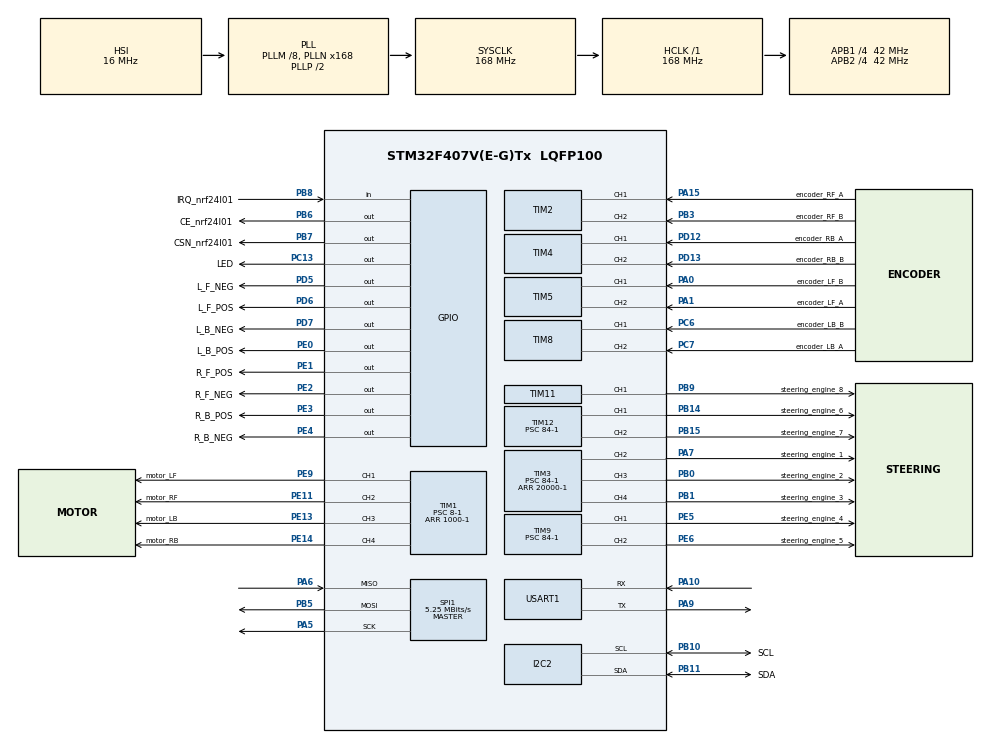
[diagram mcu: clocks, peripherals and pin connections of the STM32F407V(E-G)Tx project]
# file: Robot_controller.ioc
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Mcu.Family=STM32F4
Mcu.Name=STM32F407V(E-G)Tx
Mcu.Package=LQFP100
NVIC.PriorityGroup=NVIC_PRIORITYGROUP_4
NVIC.TIM2_IRQn=true\:0\:0\:false\:false\:true\:true\:true\:true
NVIC.TIM4_IRQn=true\:0\:0\:false\:false\:true\:true\:true\:true
NVIC.TIM5_IRQn=true\:0\:0\:false\:false\:true\:true\:true\:true
NVIC.TIM6_DAC_IRQn=true\:1\:0\:true\:false\:true\:true\:true\:true
NVIC.TIM7_IRQn=true\:2\:0\:true\:false\:true\:true\:true\:true
NVIC.USART1_IRQn=true\:0\:0\:false\:false\:true\:true\:true\:true
PA0-WKUP.GPIO_Label=encoder_LF_B
PA0-WKUP.GPIO_ModeDefaultPP=GPIO_MODE_AF_PP
PA0-WKUP.GPIO_PuPd=GPIO_PULLUP
PA0-WKUP.GPIO_Speed=GPIO_SPEED_FREQ_VERY_HIGH
PA0-WKUP.Signal=S_TIM5_CH1
PA1.GPIO_Label=encoder_LF_A
PA1.GPIO_ModeDefaultPP=GPIO_MODE_AF_PP
PA1.GPIO_PuPd=GPIO_PULLUP
PA1.GPIO_Speed=GPIO_SPEED_FREQ_VERY_HIGH
PA1.Signal=S_TIM5_CH2
PA10.Mode=Asynchronous
PA10.Signal=USART1_RX
PA13.Mode=Serial_Wire
PA13.Signal=SYS_JTMS-SWDIO
PA14.Mode=Serial_Wire
PA14.Signal=SYS_JTCK-SWCLK
PA15.GPIO_Label=encoder_RF_A
PA15.GPIO_ModeDefaultPP=GPIO_MODE_AF_PP
PA15.GPIO_PuPd=GPIO_PULLUP
PA15.GPIO_Speed=GPIO_SPEED_FREQ_VERY_HIGH
PA15.Signal=S_TIM2_CH1_ETR
PA5.Mode=Full_Duplex_Master
PA5.Signal=SPI1_SCK
PA6.Mode=Full_Duplex_Master
PA6.Signal=SPI1_MISO
PA7.GPIO_Label=steering_engine_1
PA7.GPIO_PuPd=GPIO_PULLDOWN
PA7.GPIO_Speed=GPIO_SPEED_FREQ_VERY_HIGH
PA7.Signal=S_TIM3_CH2
PA9.Mode=Asynchronous
PA9.Signal=USART1_TX
PB0.GPIO_Label=steering_engine_2
PB0.GPIO_PuPd=GPIO_PULLDOWN
PB0.GPIO_Speed=GPIO_SPEED_FREQ_VERY_HIGH
PB0.Signal=S_TIM3_CH3
PB1.GPIO_Label=steering_engine_3
PB1.GPIO_PuPd=GPIO_PULLDOWN
PB1.GPIO_Speed=GPIO_SPEED_FREQ_VERY_HIGH
PB1.Signal=S_TIM3_CH4
PB10.GPIO_Label=SCL
PB10.Mode=I2C
PB10.Signal=I2C2_SCL
PB11.GPIO_Label=SDA
PB11.Mode=I2C
PB11.Signal=I2C2_SDA
PB14.GPIO_Label=steering_engine_6
PB14.GPIO_PuPd=GPIO_PULLDOWN
PB14.GPIO_Speed=GPIO_SPEED_FREQ_VERY_HIGH
PB14.Signal=S_TIM12_CH1
PB15.GPIO_Label=steering_engine_7
PB15.GPIO_PuPd=GPIO_PULLDOWN
PB15.GPIO_Speed=GPIO_SPEED_FREQ_VERY_HIGH
PB15.Signal=S_TIM12_CH2
PB3.GPIO_Label=encoder_RF_B
PB3.GPIO_PuPd=GPIO_PULLUP
PB3.GPIO_Speed=GPIO_SPEED_FREQ_VERY_HIGH
PB3.Signal=S_TIM2_CH2
PB5.Mode=Full_Duplex_Master
PB5.Signal=SPI1_MOSI
PB6.GPIO_Label=CE_nrf24l01
PB6.GPIO_ModeDefaultOutputPP=GPIO_MODE_OUTPUT_PP
PB6.GPIO_Speed=GPIO_SPEED_FREQ_VERY_HIGH
PB6.PinState=GPIO_PIN_SET
PB6.Signal=GPIO_Output
PB7.GPIO_Label=CSN_nrf24l01
PB7.GPIO_Speed=GPIO_SPEED_FREQ_VERY_HIGH
PB7.PinState=GPIO_PIN_SET
PB7.Signal=GPIO_Output
PB8.GPIO_Label=IRQ_nrf24l01
PB8.GPIO_PuPd=GPIO_PULLUP
PB8.Signal=GPIO_Input
PB9.GPIO_Label=steering_engine_8
PB9.GPIO_ModeDefaultPP=GPIO_MODE_AF_PP
PB9.GPIO_PuPd=GPIO_PULLDOWN
PB9.GPIO_Speed=GPIO_SPEED_FREQ_VERY_HIGH
PB9.Signal=S_TIM11_CH1
PC13-ANTI_TAMP.GPIO_Label=LED
PC13-ANTI_TAMP.GPIO_ModeDefaultOutputPP=GPIO_MODE_OUTPUT_PP
PC13-ANTI_TAMP.GPIO_PuPd=GPIO_PULLDOWN
PC13-ANTI_TAMP.GPIO_Speed=GPIO_SPEED_FREQ_LOW
PC13-ANTI_TAMP.PinState=GPIO_PIN_RESET
PC13-ANTI_TAMP.Signal=GPIO_Output
PC6.GPIO_Label=encoder_LB_B
PC6.GPIO_PuPd=GPIO_PULLUP
PC6.GPIO_Speed=GPIO_SPEED_FREQ_VERY_HIGH
PC6.Signal=S_TIM8_CH1
PC7.GPIO_Label=encoder_LB_A
PC7.GPIO_PuPd=GPIO_PULLUP
PC7.GPIO_Speed=GPIO_SPEED_FREQ_VERY_HIGH
PC7.Signal=S_TIM8_CH2
PD12.GPIO_Label=encoder_RB_A
PD12.GPIO_PuPd=GPIO_PULLUP
PD12.GPIO_Speed=GPIO_SPEED_FREQ_VERY_HIGH
PD12.Signal=S_TIM4_CH1
PD13.GPIO_Label=encoder_RB_B
PD13.GPIO_PuPd=GPIO_PULLUP
PD13.GPIO_Speed=GPIO_SPEED_FREQ_VERY_HIGH
PD13.Signal=S_TIM4_CH2
PD5.GPIO_Label=L_F_NEG
PD5.GPIO_PuPd=GPIO_PULLDOWN
PD5.GPIO_Speed=GPIO_SPEED_FREQ_HIGH
PD5.PinState=GPIO_PIN_RESET
PD5.Signal=GPIO_Output
PD6.GPIO_Label=L_F_POS
PD6.GPIO_PuPd=GPIO_PULLDOWN
PD6.GPIO_Speed=GPIO_SPEED_FREQ_HIGH
PD6.Signal=GPIO_Output
PD7.GPIO_Label=L_B_NEG
PD7.GPIO_ModeDefaultOutputPP=GPIO_MODE_OUTPUT_PP
PD7.GPIO_PuPd=GPIO_PULLDOWN
PD7.GPIO_Speed=GPIO_SPEED_FREQ_HIGH
PD7.Signal=GPIO_Output
PE0.GPIO_Label=L_B_POS
PE0.GPIO_ModeDefaultOutputPP=GPIO_MODE_OUTPUT_PP
PE0.GPIO_PuPd=GPIO_PULLDOWN
PE0.GPIO_Speed=GPIO_SPEED_FREQ_HIGH
PE0.Signal=GPIO_Output
PE1.GPIO_Label=R_F_POS
PE1.GPIO_ModeDefaultOutputPP=GPIO_MODE_OUTPUT_PP
PE1.GPIO_PuPd=GPIO_PULLDOWN
PE1.GPIO_Speed=GPIO_SPEED_FREQ_HIGH
PE1.Signal=GPIO_Output
PE11.GPIO_Label=motor_RF
PE11.GPIO_PuPd=GPIO_PULLDOWN
PE11.GPIO_Speed=GPIO_SPEED_FREQ_VERY_HIGH
PE11.Signal=S_TIM1_CH2
PE13.GPIO_Label=motor_LB
PE13.GPIO_PuPd=GPIO_PULLDOWN
PE13.GPIO_Speed=GPIO_SPEED_FREQ_VERY_HIGH
PE13.Signal=S_TIM1_CH3
PE14.GPIO_Label=motor_RB
PE14.GPIO_PuPd=GPIO_PULLDOWN
PE14.GPIO_Speed=GPIO_SPEED_FREQ_VERY_HIGH
PE14.Signal=S_TIM1_CH4
PE2.GPIO_Label=R_F_NEG
PE2.GPIO_PuPd=GPIO_PULLDOWN
PE2.GPIO_Speed=GPIO_SPEED_FREQ_HIGH
PE2.Signal=GPIO_Output
PE3.GPIO_Label=R_B_POS
PE3.GPIO_PuPd=GPIO_PULLDOWN
PE3.GPIO_Speed=GPIO_SPEED_FREQ_HIGH
PE3.Signal=GPIO_Output
PE4.GPIO_Label=R_B_NEG
PE4.GPIO_PuPd=GPIO_PULLDOWN
PE4.GPIO_Speed=GPIO_SPEED_FREQ_HIGH
PE4.Signal=GPIO_Output
PE5.GPIO_Label=steering_engine_4
PE5.GPIO_PuPd=GPIO_PULLDOWN
PE5.GPIO_Speed=GPIO_SPEED_FREQ_VERY_HIGH
PE5.Signal=S_TIM9_CH1
PE6.GPIO_Label=steering_engine_5
PE6.GPIO_PuPd=GPIO_PULLDOWN
PE6.GPIO_Speed=GPIO_SPEED_FREQ_VERY_HIGH
PE6.Signal=S_TIM9_CH2
PE9.GPIO_Label=motor_LF
PE9.GPIO_ModeDefaultPP=GPIO_MODE_AF_PP
PE9.GPIO_PuPd=GPIO_PULLDOWN
PE9.GPIO_Speed=GPIO_SPEED_FREQ_VERY_HIGH
PE9.Signal=S_TIM1_CH1
PH0-OSC_IN.Mode=HSE-External-Oscillator
PH0-OSC_IN.Signal=RCC_OSC_IN
PH1-OSC_OUT.Mode=HSE-External-Oscillator
PH1-OSC_OUT.Signal=RCC_OSC_OUT
ProjectManager.HeapSize=0x200
ProjectManager.StackSize=0x400
ProjectManager.TargetToolchain=MDK-ARM V5.32
RCC.48MHZClocksFreq_Value=84000000
RCC.AHBFreq_Value=168000000
RCC.APB1CLKDivider=RCC_HCLK_DIV4
RCC.APB1Freq_Value=42000000
RCC.APB1TimFreq_Value=84000000
RCC.APB2CLKDivider=RCC_HCLK_DIV4
RCC.APB2Freq_Value=42000000
RCC.APB2TimFreq_Value=84000000
RCC.CortexFreq_Value=168000000
RCC.HCLKFreq_Value=168000000
RCC.HSE_VALUE=8000000
RCC.HSI_VALUE=16000000
RCC.LSE_VALUE=32768
RCC.PLLM=8
RCC.PLLN=168
RCC.SYSCLKFreq_VALUE=168000000
RCC.SYSCLKSource=RCC_SYSCLKSOURCE_PLLCLK
RCC.VCOOutputFreq_Value=336000000
SH.S_TIM11_CH1.0=TIM11_CH1,PWM Generation1 CH1
SH.S_TIM12_CH1.0=TIM12_CH1,PWM Generation1 CH1
SH.S_TIM12_CH2.0=TIM12_CH2,PWM Generation2 CH2
SH.S_TIM1_CH1.0=TIM1_CH1,PWM Generation1 CH1
SH.S_TIM1_CH2.0=TIM1_CH2,PWM Generation2 CH2
SH.S_TIM1_CH3.0=TIM1_CH3,PWM Generation3 CH3
SH.S_TIM1_CH4.0=TIM1_CH4,PWM Generation4 CH4
SH.S_TIM2_CH1_ETR.0=TIM2_CH1,Encoder_Interface
SH.S_TIM2_CH2.0=TIM2_CH2,Encoder_Interface
SH.S_TIM3_CH2.0=TIM3_CH2,PWM Generation2 CH2
SH.S_TIM3_CH3.0=TIM3_CH3,PWM Generation3 CH3
SH.S_TIM3_CH4.0=TIM3_CH4,PWM Generation4 CH4
SH.S_TIM4_CH1.0=TIM4_CH1,Encoder_Interface
SH.S_TIM4_CH2.0=TIM4_CH2,Encoder_Interface
SH.S_TIM5_CH1.0=TIM5_CH1,Encoder_Interface
SH.S_TIM5_CH2.0=TIM5_CH2,Encoder_Interface
SH.S_TIM8_CH1.0=TIM8_CH1,Encoder_Interface
SH.S_TIM8_CH2.0=TIM8_CH2,Encoder_Interface
SH.S_TIM9_CH1.0=TIM9_CH1,PWM Generation1 CH1
SH.S_TIM9_CH2.0=TIM9_CH2,PWM Generation2 CH2
SPI1.BaudRatePrescaler=SPI_BAUDRATEPRESCALER_8
SPI1.CalculateBaudRate=5.25 MBits/s
SPI1.Direction=SPI_DIRECTION_2LINES
SPI1.Mode=SPI_MODE_MASTER
SPI1.VirtualType=VM_MASTER
TIM1.AutoReloadPreload=TIM_AUTORELOAD_PRELOAD_ENABLE
TIM1.BreakState=TIM_BREAK_DISABLE
TIM1.Channel-PWM\ Generation1\ CH1=TIM_CHANNEL_1
TIM1.Channel-PWM\ Generation2\ CH2=TIM_CHANNEL_2
TIM1.Channel-PWM\ Generation3\ CH3=TIM_CHANNEL_3
TIM1.Channel-PWM\ Generation4\ CH4=TIM_CHANNEL_4
TIM1.Period=1000-1
TIM1.Prescaler=8-1
TIM11.AutoReloadPreload=TIM_AUTORELOAD_PRELOAD_ENABLE
TIM11.Channel=TIM_CHANNEL_1
TIM11.Period=20000-1
TIM11.Prescaler=84-1
TIM12.AutoReloadPreload=TIM_AUTORELOAD_PRELOAD_ENABLE
TIM12.Channel-PWM\ Generation1\ CH1=TIM_CHANNEL_1
TIM12.Channel-PWM\ Generation2\ CH2=TIM_CHANNEL_2
TIM12.Period=20000-1
TIM12.Prescaler=84-1
TIM2.EncoderMode=TIM_ENCODERMODE_TI12
TIM3.AutoReloadPreload=TIM_AUTORELOAD_PRELOAD_ENABLE
TIM3.Channel-PWM\ Generation2\ CH2=TIM_CHANNEL_2
TIM3.Channel-PWM\ Generation3\ CH3=TIM_CHANNEL_3
TIM3.Channel-PWM\ Generation4\ CH4=TIM_CHANNEL_4
TIM3.Period=20000-1
TIM3.Prescaler=84-1
TIM4.EncoderMode=TIM_ENCODERMODE_TI12
TIM5.EncoderMode=TIM_ENCODERMODE_TI12
TIM6.AutoReloadPreload=TIM_AUTORELOAD_PRELOAD_ENABLE
TIM6.Period=100-1
TIM6.Prescaler=8400-1
TIM6.TIM_MasterOutputTrigger=TIM_TRGO_UPDATE
TIM7.AutoReloadPreload=TIM_AUTORELOAD_PRELOAD_ENABLE
TIM7.Period=3000
TIM7.Prescaler=16800
TIM7.TIM_MasterOutputTrigger=TIM_TRGO_UPDATE
TIM8.EncoderMode=TIM_ENCODERMODE_TI12
TIM9.AutoReloadPreload=TIM_AUTORELOAD_PRELOAD_ENABLE
TIM9.Channel-PWM\ Generation1\ CH1=TIM_CHANNEL_1
TIM9.Channel-PWM\ Generation2\ CH2=TIM_CHANNEL_2
TIM9.Period=20000-1
TIM9.Prescaler=84-1
USART1.VirtualMode=VM_ASYNC
VP_TIM11_VS_ClockSourceINT.Mode=Enable_Timer
VP_TIM12_VS_ClockSourceINT.Mode=Internal
VP_TIM1_VS_ClockSourceINT.Mode=Internal
VP_TIM3_VS_ClockSourceINT.Mode=Internal
VP_TIM6_VS_ClockSourceINT.Mode=Enable_Timer
VP_TIM7_VS_ClockSourceINT.Mode=Enable_Timer
VP_TIM9_VS_ClockSourceINT.Mode=Internal
board=custom

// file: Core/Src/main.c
/* USER CODE BEGIN Header */
/**
  ******************************************************************************
  * @file           : main.c
  * @brief          : Main program body
  ******************************************************************************
  * @attention
  *
  * Copyright (c) 2023 STMicroelectronics.
  * All rights reserved.
  *
  * This software is licensed under terms that can be found in the LICENSE file
  * in the root directory of this software component.
  * If no LICENSE file comes with this software, it is provided AS-IS.
  *
  ******************************************************************************
  */
/* USER CODE END Header */
#include "main.h"
#include "i2c.h"
#include "spi.h"
#include "tim.h"
#include "usart.h"
#include "gpio.h"

/* USER CODE BEGIN Includes */
#include "core_cm4.h"
#include "NRF24L01.h"
#include "stdio.h"
#include "Data_uart.h"
#include "OLED.h"
#include "math.h"
//USE_HAL_DRIVER,STM32F407xx
/* USER CODE END Includes */

/* USER CODE BEGIN PTD */

//-------------------------------------------------------------------------------------------------------------------------------------
//---------------------------------------------------USER-----CODE---BEGIN-----PRIVATE--TYPEDEF---------------------------------------
//--------------------------------------------------------------------------------------------------------------------------

extern unsigned char gImage_windbreaker[390];
//-------------------------------------------------------------------------------------------------------------------------------------
//---------------------------------------------------USER-----CODE---END-----PRIVATE--TYPEDEF---------------------------------------
//--------------------------------------------------------------------------------------------------------------------------
/* USER CODE END PTD */

/* USER CODE BEGIN PV */
//-------------------------------------------------------------------------------------------------------------------------------------
//---------------------------------------------------USER-----CODE---BEGIN-----PRIVATE--VARIABLES---------------------------------------
//--------------------------------------------------------------------------------------------------------------------------
unsigned char controller_signal[signal_array_Space] = {0};
int           pwm_output[arspace]= {0};
short         motor_speed[arspace] = {0};
double           target[arspace]={0};
double        mani_status[mani_arrspace]={0};
int           error_status[fault_Space]={0};
int           o_limit[10]={0};
PID_parameter drive_pidp_LF;
PID_parameter drive_pidp_LB;
PID_parameter drive_pidp_RF;
PID_parameter drive_pidp_RB;

PID_variables drive_pidv_L_F;
PID_variables drive_pidv_L_B;
PID_variables drive_pidv_R_F;
PID_variables drive_pidv_R_B;

unsigned char temp;
unsigned char data_L_X=0, data_L_Y=0,data_R_X=0,data_R_Y=0;
unsigned int i=0;
         int motor_rotate_speed=0 , target_cal=0;
unsigned int mani_prescaler=0;
unsigned int mani_lock_flag=1023;
unsigned int mani_tlock_flag=0;

int temp_X,temp_Y,temp_K,temp_A;
int m_reset_flag = 0;
//int m_error_flag = 0;

float a=0;

int w=0;//错误急停判断debug标志位
//-------------------------------------------------------------------------------------------------------------------------------------
//---------------------------------------------------USER-----CODE---END-----PRIVATE------VARIABLES--------------------------------------
//--------------------------------------------------------------------------------------------------------------------------
/* USER CODE END PV */

void SystemClock_Config(void);
/* USER CODE BEGIN PFP */
//-------------------------------------------------------------------------------------------------------------------------------------
//---------------------------------------------------USER-----CODE---BEGIN-----PRIVATE--FUNCTION---PROTOTYPES---------------------------------------
//--------------------------------------------------------------------------------------------------------------------------
void PWM_output(int *pwm);
void get_speed(short *rotate_speed);

void set_pidp(PID_parameter *hpidp,int KP, int KI ,int KD);
void input_pidv(PID_variables *hpidv,int Target,int Data_now);
int pid_cal(PID_parameter *hpidp,PID_variables *hpidv);
void pid_autoset(PID_parameter *hpidp,PID_variables *hpidv);
int ABS(int a);
int nominus(int a);
int pwm_limit(int pwm);
void mani_cul(double x,double y,double sita);
void delay_us(uint32_t nus);

//-------------------------------------------------------------------------------------------------------------------------------------
//---------------------------------------------------USER-----CODE---BEGIN-----PRIVATE--FUNCTION---PROTOTYPES----------------------
//--------------------------------------------------------------------------------------------------------------------------
/* USER CODE END PFP */

int main(void)
{

  /* MCU Configuration--------------------------------------------------------*/

  /* Reset of all peripherals, Initializes the Flash interface and the Systick. */
  HAL_Init();

  /* Configure the system clock */
  SystemClock_Config();

  /* Initialize all configured peripherals */
  MX_GPIO_Init();
  MX_TIM1_Init();
  MX_TIM2_Init();
  MX_TIM4_Init();
  MX_TIM5_Init();
  MX_TIM6_Init();
  MX_SPI1_Init();
  MX_USART1_UART_Init();
  MX_I2C2_Init();
  MX_TIM8_Init();
  MX_TIM7_Init();
  MX_TIM3_Init();
  MX_TIM9_Init();
  MX_TIM12_Init();
  MX_TIM11_Init();
  /* USER CODE BEGIN 2 */
  //-------------------------------------------------------------------------------------------------------------------------------------
//---------------------------------------------------USER-----CODE---BEGIN--------------------------------------------
//--------------------------------------------------------------------------------------------------------------------------
    OLED_init();
	OLED_display_on();
	OLED_refresh_gram();
	OLED_operate_gram(PEN_CLEAR);
	OLED_show_string(3, 13, "WIND");
	OLED_show_string(4, 13, "BREAKERS");
	OLED_refresh_gram();
	OLED_DrawBMP(0, 0,63, 7,gImage_windbreaker);//破风的logo
	HAL_Delay(1000);

   NRF24L01_Init();
//	printf("\r\ninit OK!\r\n");
//	temp = 4;
	while(NRF24L01_Check()){
		OLED_show_string(2, 0, "NRF24L01_test_fail");//无线通讯模块自检，并用oled显示
	}
	OLED_operate_gram(PEN_CLEAR);
	OLED_refresh_gram();
	OLED_show_string(2, 0, "NRF24L01_test_succeeded");

	RX_Mode();	//接收模式

	HAL_TIM_PWM_Start_IT(&htim1,TIM_CHANNEL_1);
	HAL_TIM_PWM_Start_IT(&htim1,TIM_CHANNEL_2);	    // TIM1(pwm)
	HAL_TIM_PWM_Start_IT(&htim1,TIM_CHANNEL_3);
	HAL_TIM_PWM_Start_IT(&htim1,TIM_CHANNEL_4);

	HAL_TIM_PWM_Start_IT(&htim3,TIM_CHANNEL_2);	    // TIM1(pwm)
	HAL_TIM_PWM_Start_IT(&htim3,TIM_CHANNEL_3);
	HAL_TIM_PWM_Start_IT(&htim3,TIM_CHANNEL_4);
	HAL_TIM_PWM_Start_IT(&htim9,TIM_CHANNEL_1);	    // TIM1(pwm)
	HAL_TIM_PWM_Start_IT(&htim9,TIM_CHANNEL_2);
	HAL_TIM_PWM_Start_IT(&htim11,TIM_CHANNEL_1);
	HAL_TIM_PWM_Start_IT(&htim12,TIM_CHANNEL_1);	    // TIM1(pwm)
	HAL_TIM_PWM_Start_IT(&htim12,TIM_CHANNEL_2);

	HAL_TIM_Encoder_Start(&htim2, TIM_CHANNEL_1); // 开启编码器
	HAL_TIM_Encoder_Start(&htim2, TIM_CHANNEL_2);
	HAL_TIM_Encoder_Start(&htim8, TIM_CHANNEL_1);
	HAL_TIM_Encoder_Start(&htim8, TIM_CHANNEL_2);
	HAL_TIM_Encoder_Start(&htim4, TIM_CHANNEL_1);
	HAL_TIM_Encoder_Start(&htim4, TIM_CHANNEL_2);
	HAL_TIM_Encoder_Start(&htim5, TIM_CHANNEL_1);
	HAL_TIM_Encoder_Start(&htim5, TIM_CHANNEL_2);

	HAL_TIM_Base_Start_IT(&htim6); //counter_set

    HAL_TIM_Base_Start_IT(&htim7); //oled_refresh_tim
  //-------------------------------------------------------------------------------------------------------------------------------------
//---------------------------------------------------USER-----CODE------END-----------------------------------------
//--------------------------------------------------------------------------------------------------------------------------

  /* USER CODE END 2 */

  /* Infinite loop */
  /* USER CODE BEGIN WHILE */
  while (1)
  {
//	  controller_signal[OPTION]=2;
//	controller_signal[MODE]=0;

    /* USER CODE END WHILE */

    /* USER CODE BEGIN 3 */

	  //-------------------------------------------------------------------------------------------------------------------------------------
//---------------------------------------------------USER-----CODE------BEGIN---WHILE----------------------------------
//--------------------------------------------------------------------------------------------------------------------------
	  	if(NRF24L01_RxPacket(controller_signal)==0){//提取信号
		data_L_X=controller_signal[DATA_L_X];
	    data_L_Y=controller_signal[DATA_L_Y];
		data_R_X=controller_signal[DATA_R_X];
	    data_R_Y=controller_signal[DATA_R_Y];
		}
		else{//没有收到信号时要输出0
			data_L_X=24;
			data_L_Y=24;
			data_R_X=23;
			data_R_Y=25;

		}
		if(controller_signal[MODE]==MOVI){//运动模式下的显示
			OLED_printf(0,1,"dLX=%d-dLY=%d",data_L_X,data_L_Y);
			OLED_printf(1,1,"dRX=%d-dRY=%d",data_R_X,data_R_Y);
			OLED_printf(2,1,"LFS=%d-RFS=%d",motor_speed[L_F],motor_speed[R_F]);
			OLED_printf(3,1,"LBS=%d-RBS=%d",motor_speed[L_B],motor_speed[R_B]);

  }
//		oled最后都注释一下
		else if(controller_signal[MODE]==MANI){//机械臂模式下的显示

			OLED_printf(0,1,"p=%u",(uint16_t)(mani_status[mani_sita1]*2000/3.141593+500));
			OLED_printf(1,1,"dx:%lf-dy:%lf",mani_status[mani_dx_target],mani_status[mani_dy_target]);
			if(error_status[m1_fault]==1)           {OLED_printf(2,0,"error_m1=%lf", mani_status[mani_m1]);}
			else if(error_status[m2_fault]==1)      {OLED_printf(2,0,"error_m2=%lf", mani_status[mani_m2]);}
			else{
				OLED_printf(2,0,"s1=%lf-s2=%lf",mani_status[mani_sita1],mani_status[mani_sita2]);
				OLED_printf(3,0,"s3=%lf-S=%d",mani_status[mani_sita3],target[M_A]);//controller_signal[JAW]//target[M_A]
			}
			OLED_printf(4,1,"X=%lf-Y=%lf",target[M_X],target[M_Y]);
		}
		HAL_Delay(3);
		//DELAY_US(1);

  }
  //-------------------------------------------------------------------------------------------------------------------------------------
//---------------------------------------------------USER-----CODE-------END-----WHILE------------------------------
//--------------------------------------------------------------------------------------------------------------------------
  /* USER CODE END 3 */
}

void SystemClock_Config(void)
{
  RCC_OscInitTypeDef RCC_OscInitStruct = {0};
  RCC_ClkInitTypeDef RCC_ClkInitStruct = {0};

  /** Configure the main internal regulator output voltage
  */
  __HAL_RCC_PWR_CLK_ENABLE();
  __HAL_PWR_VOLTAGESCALING_CONFIG(PWR_REGULATOR_VOLTAGE_SCALE1);

  /** Initializes the RCC Oscillators according to the specified parameters
  * in the RCC_OscInitTypeDef structure.
  */
  RCC_OscInitStruct.OscillatorType = RCC_OSCILLATORTYPE_HSI;
  RCC_OscInitStruct.HSIState = RCC_HSI_ON;
  RCC_OscInitStruct.HSICalibrationValue = RCC_HSICALIBRATION_DEFAULT;
  RCC_OscInitStruct.PLL.PLLState = RCC_PLL_ON;
  RCC_OscInitStruct.PLL.PLLSource = RCC_PLLSOURCE_HSI;
  RCC_OscInitStruct.PLL.PLLM = 8;
  RCC_OscInitStruct.PLL.PLLN = 168;
  RCC_OscInitStruct.PLL.PLLP = RCC_PLLP_DIV2;
  RCC_OscInitStruct.PLL.PLLQ = 4;
  if (HAL_RCC_OscConfig(&RCC_OscInitStruct) != HAL_OK)
  {
    Error_Handler();
  }

  /** Initializes the CPU, AHB and APB buses clocks
  */
  RCC_ClkInitStruct.ClockType = RCC_CLOCKTYPE_HCLK|RCC_CLOCKTYPE_SYSCLK
                              |RCC_CLOCKTYPE_PCLK1|RCC_CLOCKTYPE_PCLK2;
  RCC_ClkInitStruct.SYSCLKSource = RCC_SYSCLKSOURCE_PLLCLK;
  RCC_ClkInitStruct.AHBCLKDivider = RCC_SYSCLK_DIV1;
  RCC_ClkInitStruct.APB1CLKDivider = RCC_HCLK_DIV4;
  RCC_ClkInitStruct.APB2CLKDivider = RCC_HCLK_DIV4;

  if (HAL_RCC_ClockConfig(&RCC_ClkInitStruct, FLASH_LATENCY_5) != HAL_OK)
  {
    Error_Handler();
  }
}

/* USER CODE BEGIN 4 */

//-------------------------------------------------------------------------------------------------------------------------------------
//---------------------------------------------------USER-----CODE------BEGIN-----------------------------------------
//--------------------------------------------------------------------------------------------------------------------------
void HAL_TIM_PeriodElapsedCallback(TIM_HandleTypeDef *htim)
{

    if (htim == (&htim6))
    {
		if(controller_signal[MODE]==MOVI){//------------------------------------------moving
			m_reset_flag=0;//机械臂模式初始化标志复位
			no_fault_happended//机械臂模式的清除错误标记
			if(controller_signal[OPTION]==2){//速度选择
				motor_rotate_speed=500;
//				set_pidp(&drive_pidp_LF,50,0.2 ,5);
//				set_pidp(&drive_pidp_LB,50,0.2 ,5);
//				set_pidp(&drive_pidp_RF,50,0.2 ,5);
//				set_pidp(&drive_pidp_RB,50,0.2 ,5);
			}
			else if (controller_signal[OPTION]==1){
				motor_rotate_speed=300;
//				set_pidp(&drive_pidp_LF,20,0.1 ,1);
//				set_pidp(&drive_pidp_LB,20,0.1 ,1);
//				set_pidp(&drive_pidp_RF,20,0.1 ,1);
//				set_pidp(&drive_pidp_RB,20,0.1 ,1);
			}
			else if(controller_signal[OPTION]==0){
				motor_rotate_speed=100;
//				set_pidp(&drive_pidp_LF,10,0.001 ,0.1);
//				set_pidp(&drive_pidp_LB,10,0.001 ,0.1);
//				set_pidp(&drive_pidp_RF,10,0.001 ,0.1);
//				set_pidp(&drive_pidp_RB,10,0.001 ,0.1);
			}
			else{
				motor_rotate_speed=0;
			}
			target_cal=motor_rotate_speed/25;
			//---------------------------------------------------------麦轮运动解算
			target[L_F]=target_cal*((int)data_L_X-24)+target_cal*((int)data_R_Y-25)/2;
			target[L_B]=target_cal*((int)data_L_Y-24)+target_cal*((int)data_R_Y-25)/2;
			target[R_F]=target_cal*((int)data_L_Y-24)-target_cal*((int)data_R_Y-25)/2;
			target[R_B]=target_cal*((int)data_L_X-24)-target_cal*((int)data_R_Y-25)/2;

			get_speed(motor_speed);//获取速度并放入数组

//-----------------------------------------------------------
			//------------------------pid计算
			input_pidv(&drive_pidv_L_F,(int)target[L_F],(int)motor_speed[L_F]);
			pid_autoset(&drive_pidp_LF,&drive_pidv_L_F);
			pwm_output[L_F]= pwm_limit(pid_cal(&drive_pidp_LF,&drive_pidv_L_F)); //LF
			drive_pidv_L_F.data_before=drive_pidv_L_F.data_now;
			drive_pidv_L_F.last_target=drive_pidv_L_F.target;

			input_pidv(&drive_pidv_R_F,(int)target[R_F],(int)motor_speed[R_F]);
			pid_autoset(&drive_pidp_RF,&drive_pidv_R_F);
			pwm_output[R_F]=pwm_limit( pid_cal(&drive_pidp_RF,&drive_pidv_R_F)); //RF
			drive_pidv_R_F.data_before=drive_pidv_R_F.data_now;
			drive_pidv_R_F.last_target=drive_pidv_R_F.target;

			input_pidv(&drive_pidv_L_B,(int)target[L_B],(int)motor_speed[L_B]);
			pid_autoset(&drive_pidp_LB,&drive_pidv_L_B);
			pwm_output[L_B]=pwm_limit(pid_cal(&drive_pidp_LB,&drive_pidv_L_B)); //LB
			drive_pidv_L_B.data_before=drive_pidv_L_B.data_now;
			drive_pidv_L_B.last_target=drive_pidv_L_B.target;

			input_pidv(&drive_pidv_R_B,(int)target[R_B],(int)motor_speed[R_B]);
			pid_autoset(&drive_pidp_RB,&drive_pidv_R_B);
			pwm_output[R_B]=pwm_limit(pid_cal(&drive_pidp_RB,&drive_pidv_R_B)); //RB
			drive_pidv_R_B.data_before=drive_pidv_R_B.data_now;
			drive_pidv_R_B.last_target=drive_pidv_R_B.target;
//------------------------------------------------------------------------------------------
			PWM_output(pwm_output);//输出

			UART_SendData4(motor_speed[L_F],motor_speed[L_B],motor_speed[R_F],motor_speed[R_B]);//串口发送

		}
		else if(controller_signal[MODE]==MANI){//-------------------------manipulator
				temp_X=4*((int)data_L_X-24);
				temp_Y=4*((int)data_L_Y-24);
				temp_A=4*((int)data_R_X-23);
				temp_K=4*((int)data_R_Y-25);
				if(m_reset_flag ==0){//位置的初始化
					target[M_X]=200;
					target[M_Y]=100;
					target[M_A]=0  ;
					target[M_K]=0  ;
				mani_status[mani_L_X]=0;
				mani_status[mani_L_Y]=0;
				mani_status[mani_L_A]=0;
					m_reset_flag=1;//标志上拉
				}
				//-----------摇杆控制增减力度------
				//--------------------------------------------------x

				if(temp_X>90)                   {target[M_X]+=1  ;x_last_plus;}//记录行为
				else if(temp_X<=90&&temp_X>50)  {target[M_X]+=0.8  ;x_last_plus;}
				else if(temp_X<=50&&temp_X>10)  {target[M_X]+=0.5;x_last_plus;}
				else if(temp_X<-10&&temp_X>=-50){target[M_X]-=0.5;x_last_minus;}
				else if(temp_X<-50&&temp_X>=90) {target[M_X]-=0.8 ;x_last_minus;}
				else if(temp_X<-90)             {target[M_X]-=1  ;x_last_minus;}

				//---------------------------------------------------y

				if(temp_Y>90)                   {target[M_Y]+=1  ;y_last_plus;}
				else if(temp_Y<=90&&temp_Y>50)  {target[M_Y]+=0.8  ;y_last_plus;}
				else if(temp_Y<=50&&temp_Y>10)  {target[M_Y]+=0.5;y_last_plus;}
				else if(temp_Y<-10&&temp_Y>=-50){target[M_Y]-=0.5;y_last_minus;}
				else if(temp_Y<-50&&temp_Y>=90) {target[M_Y]-0.8  ;y_last_minus;}
				else if(temp_Y<-90)				{target[M_Y]-=1  ;y_last_minus;}

				//---------------------------------------------------k

				if(temp_K>90)                   {target[M_K]=70;}
				else if(temp_K<=90&&temp_K>50)  {target[M_K]=50;}
				else if(temp_K<=50&&temp_K>10)  {target[M_K]=40;}
				else if(temp_K<-10&&temp_K>=-50){target[M_K]=-40;}
				else if(temp_K<-50&&temp_K>=90) {target[M_K]=-50;}
				else if(temp_K<-90)             {target[M_K]=-70;}
				else  							{target[M_K]=0;}

				//----------------------------------------------------a

				if(temp_A>90)                   {target[M_A]+=0.8;a_last_plus;}
				else if(temp_A<=90&&temp_A>50)  {target[M_A]+=0.4;a_last_plus;}
				else if(temp_A<=50&&temp_A>10)  {target[M_A]+=0.1;a_last_plus;}
				else if(temp_A<-10&&temp_A>=-50){target[M_A]-=0.1;a_last_minus;}
				else if(temp_A<-50&&temp_A>=90) {target[M_A]-=0.4;a_last_minus;}
				else if(temp_A<-90)             {target[M_A]-=0.8;a_last_minus;}//0-180

				//---------------------------------------------------------
				//---------------------------------------------	//限制&错误急停(判断错误原因与动作并 节源)
					if(target[M_Y]<=0){target[M_Y]=0;}

					if((if_error_x_plus && if_x_plus)||(if_error_x_minus && if_x_minus)||target[M_Y]<=0)
						{target[M_X]=mani_status[mani_L_X];w++;}

					if((if_error_y_plus && if_y_plus)||(if_error_y_minus && if_y_minus))
						{target[M_Y]=mani_status[mani_L_Y];}

					if((if_error_a_plus && if_a_plus)||(if_error_a_minus && if_a_minus))
						{target[M_A]=mani_status[mani_L_A];}
				//------------------------
				//----------------------------------------------------------
				mani_status[mani_L_X]=target[M_X];
				mani_status[mani_L_Y]=target[M_Y];
				mani_status[mani_L_A]=target[M_A];//记录上一次的信号

//				if(controller_signal[OPTION]==1&&o_limit[0]){//prot数组标记
//				target[M_X]=200 ;
//				target[M_Y]=100 ;
//				target[M_A]=0   ;
//				for(int i=0;i<10;i++){o_limit[i]=0;}
//				o_limit[0]=1;
//				}
//				else if(controller_signal[OPTION]==2&&o_limit[1]){//up
//				target[M_X]=300;
//				target[M_Y]=300;
//				target[M_A]=90 ;
//				for(int i=0;i<10;i++){o_limit[i]=0;}
//				o_limit[1]=1;
//				}
//				else if(controller_signal[OPTION]==3&&o_limit[2]){//mid
//				target[M_X]=50;
//				target[M_Y]=150;
//				target[M_A]=0;
//				for(int i=0;i<10;i++){o_limit[i]=0;}
//				o_limit[2]=1;
//				}
//				else if(controller_signal[OPTION]==4&&o_limit[3]){//down
//				target[M_X]=60;
//				target[M_Y]=60;
//				target[M_A]=0;
//				for(int i=0;i<10;i++){o_limit[i]=0;}
//				o_limit[3]=1;
//				}
//				else if(controller_signal[OPTION]==5&&o_limit[4]){//tou
//				target[M_X]=70;
//				target[M_Y]=70;
//				target[M_A]=0;
//				for(int i=0;i<10;i++){o_limit[i]=0;}
//				o_limit[4]=1;
//				}
//				else if(controller_signal[OPTION]==6&&o_limit[5]){//collect
//				for(int i=0;i<10;i++){o_limit[i]=0;}
//				o_limit[5]=1;
//
//				}
//				else if(controller_signal[OPTION]==7&&o_limit[6]){
//				target[M_X]=80;
//				target[M_Y]=80;
//				target[M_A]=0;
//				for(int i=0;i<10;i++){o_limit[i]=0;}
//				o_limit[6]=1;
//				}
//				else if(controller_signal[OPTION]==8&&o_limit[7]){
//				target[M_X]=90;
//				target[M_Y]=90;
//				target[M_A]=0;
//				for(int i=0;i<10;i++){o_limit[i]=0;}
//				o_limit[7]=1;
//				}
//				else if(controller_signal[OPTION]==9&&o_limit[8]){
//				target[M_X]=100;
//				target[M_Y]=100;
//				target[M_A]=0;
//				for(int i=0;i<10;i++){o_limit[i]=0;}
//				o_limit[8]=1;
//				}
//				else if(controller_signal[OPTION]==10&&o_limit[9]){
//				target[M_X]=200;
//				target[M_Y]=200;
//				target[M_A]=0;
//				for(int i=0;i<10;i++){o_limit[i]=0;}
//				o_limit[9]=1;
//				}
//---------------------------------------------------------------------------------------------------
//----------------------------------------------------------------------------机械臂点位（二进制标记）
				if(controller_signal[OPTION]==1&&(mani_lock_flag&1)){//up
				target[M_X]=215 ;
				target[M_Y]=340 ;
				target[M_A]=40   ;
				mani_lock_flag=1022;
				mani_status[mani_L_X]=target[M_X];
				mani_status[mani_L_Y]=target[M_Y];
				mani_status[mani_L_A]=target[M_A];
				no_fault_happended//清除错误状态标记
				}
				else if(controller_signal[OPTION]==2&&(mani_lock_flag&2)){//prot
				target[M_X]=252;
				target[M_Y]=169;
				target[M_A]=-90 ;
				mani_lock_flag=1021;
				mani_status[mani_L_X]=target[M_X];
				mani_status[mani_L_Y]=target[M_Y];
				mani_status[mani_L_A]=target[M_A];
				no_fault_happended
				}
				else if(controller_signal[OPTION]==3&&(mani_lock_flag&4)){//mid
				target[M_X]=216.3;
				target[M_Y]=262.9;
				target[M_A]=-90;
				mani_lock_flag=1019;
				mani_status[mani_L_X]=target[M_X];
				mani_status[mani_L_Y]=target[M_Y];
				mani_status[mani_L_A]=target[M_A];
				no_fault_happended
				}
				else if(controller_signal[OPTION]==4&&(mani_lock_flag&8)){//
				target[M_X]=377.7;
				target[M_Y]=62.7;
				target[M_A]=30;
				mani_lock_flag=1015;
				mani_status[mani_L_X]=target[M_X];
				mani_status[mani_L_Y]=target[M_Y];
				mani_status[mani_L_A]=target[M_A];
				no_fault_happended
				}
				else if(controller_signal[OPTION]==5&&(mani_lock_flag&16)){//place
				target[M_X]=130;
				target[M_Y]=310.9;
				target[M_A]=-90;
				mani_lock_flag=1007;
				mani_status[mani_L_X]=target[M_X];
				mani_status[mani_L_Y]=target[M_Y];
				mani_status[mani_L_A]=target[M_A];
				no_fault_happended
				}
				else if(controller_signal[OPTION]==6&&(mani_lock_flag&32)){//
				target[M_X]=305.2;
				target[M_Y]=235;
				target[M_A]=60;
				mani_lock_flag=991;
				mani_status[mani_L_X]=target[M_X];
				mani_status[mani_L_Y]=target[M_Y];
				mani_status[mani_L_A]=target[M_A];
				no_fault_happended
				}
				else if(controller_signal[OPTION]==7&&(mani_lock_flag&64)){//
				target[M_X]=200;
				target[M_Y]=100;
				target[M_A]=0;
				mani_lock_flag=959;
				mani_status[mani_L_X]=target[M_X];
				mani_status[mani_L_Y]=target[M_Y];
				mani_status[mani_L_A]=target[M_A];
				no_fault_happended
				}
				else if(controller_signal[OPTION]==8&&(mani_lock_flag&128)){//
				target[M_X]=216.3;
				target[M_Y]=262.9;
				target[M_A]=-90;
				mani_lock_flag=895;
				mani_status[mani_L_X]=target[M_X];
				mani_status[mani_L_Y]=target[M_Y];
				mani_status[mani_L_A]=target[M_A];
				no_fault_happended
				}
				else if(controller_signal[OPTION]==9&&(mani_lock_flag&256)){//
				target[M_X]=200;
				target[M_Y]=100;
				target[M_A]=0;
				mani_lock_flag=767;
				mani_status[mani_L_X]=target[M_X];
				mani_status[mani_L_Y]=target[M_Y];
				mani_status[mani_L_A]=target[M_A];
				no_fault_happended
				}
				else if(controller_signal[OPTION]==10&&(mani_lock_flag&512)){//place
				target[M_X]=216.3;
				target[M_Y]=262.9;
				target[M_A]=-90;
				mani_lock_flag=511;
				mani_status[mani_L_X]=target[M_X];
				mani_status[mani_L_Y]=target[M_Y];
				mani_status[mani_L_A]=target[M_A];
				no_fault_happended
				}
				//-----------------------------------------------------------
	//			target[M_X]=200;
	//
	//			target[M_Y]=200;//test
	//
	//			target[M_A]=-90;
				mani_cul(target[M_X],target[M_Y],target[M_A]);

				get_speed(motor_speed);
				input_pidv(&drive_pidv_L_F,(int)target[M_K],(int)motor_speed[L_F]);
				pid_autoset(&drive_pidp_LF,&drive_pidv_L_F);
				pwm_output[L_F]= pwm_limit(pid_cal(&drive_pidp_LF,&drive_pidv_L_F)); //LF
				drive_pidv_L_F.data_before=drive_pidv_L_F.data_now;
				drive_pidv_L_F.last_target=drive_pidv_L_F.target;

				input_pidv(&drive_pidv_R_F,-(int)target[M_K],(int)motor_speed[R_F]);
				pid_autoset(&drive_pidp_RF,&drive_pidv_R_F);
				pwm_output[R_F]=pwm_limit( pid_cal(&drive_pidp_RF,&drive_pidv_R_F)); //RF
				drive_pidv_R_F.data_before=drive_pidv_R_F.data_now;
				drive_pidv_R_F.last_target=drive_pidv_R_F.target;

				input_pidv(&drive_pidv_L_B,-(int)target[M_K],(int)motor_speed[L_B]);
				pid_autoset(&drive_pidp_LB,&drive_pidv_L_B);
				pwm_output[L_B]=pwm_limit(pid_cal(&drive_pidp_LB,&drive_pidv_L_B)); //LB
				drive_pidv_L_B.data_before=drive_pidv_L_B.data_now;
				drive_pidv_L_B.last_target=drive_pidv_L_B.target;

				input_pidv(&drive_pidv_R_B,(int)target[M_K],(int)motor_speed[R_B]);
				pid_autoset(&drive_pidp_RB,&drive_pidv_R_B);
				pwm_output[R_B]=pwm_limit(pid_cal(&drive_pidp_RB,&drive_pidv_R_B)); //RB
				drive_pidv_R_B.data_before=drive_pidv_R_B.data_now;
				drive_pidv_R_B.last_target=drive_pidv_R_B.target;

				PWM_output(pwm_output);
				//-------------------------一个简单的低通滤波
				pwm_output[M_S1]=(uint16_t)((P*mani_status[mani_sita1]+Q*mani_status[mani_L_sita1])*2000/3.141593+500);
				pwm_output[M_S2]=(uint16_t)((P*mani_status[mani_sita2]+Q*mani_status[mani_L_sita2])*2000/3.141593+500);
				pwm_output[M_S3]=(uint16_t)((P*mani_status[mani_sita3]+Q*mani_status[mani_L_sita3])*2000/3.141593+500);

				__HAL_TIM_SET_COMPARE(&htim3, TIM_CHANNEL_2,pwm_output[M_S1]);
				__HAL_TIM_SET_COMPARE(&htim3, TIM_CHANNEL_3,pwm_output[M_S2]);
				__HAL_TIM_SET_COMPARE(&htim3, TIM_CHANNEL_4,pwm_output[M_S3]);

////				__HAL_TIM_SET_COMPARE(&htim3, TIM_CHANNEL_2,(uint16_t)(mani_status[mani_sita1]*2000/3.141593+500));
////				__HAL_TIM_SET_COMPARE(&htim3, TIM_CHANNEL_3,(uint16_t)((3.141593-mani_status[mani_sita2])*2000/3.141593+500));
////				__HAL_TIM_SET_COMPARE(&htim3, TIM_CHANNEL_4,(uint16_t)(mani_status[mani_sita3]*2000/3.141593+500));
				//(uint16_t)(mani_status[mani_sita1]*2000/3.141593+500)
//				mani_prescaler=0;
				mani_status[mani_L_sita1]=mani_status[mani_sita1];
				mani_status[mani_L_sita2]=mani_status[mani_sita2];
				mani_status[mani_L_sita3]=mani_status[mani_sita3];

		}

//	if(controller_signal[JAW])     {__HAL_TIM_SET_COMPARE(&htim9, TIM_CHANNEL_1,500);}
//	else                           {__HAL_TIM_SET_COMPARE(&htim9, TIM_CHANNEL_1,500);}//未测试具体数值

//	if(controller_signal[JAW])     {__HAL_TIM_SET_COMPARE(&htim9, TIM_CHANNEL_2,2000);}
//	else                           {__HAL_TIM_SET_COMPARE(&htim9, TIM_CHANNEL_2,2500);}//未测试具体数值
//
//	if(controller_signal[JAW])     {__HAL_TIM_SET_COMPARE(&htim11, TIM_CHANNEL_1,2000);}
//	else                           {__HAL_TIM_SET_COMPARE(&htim11, TIM_CHANNEL_1,2500);}//未测试具体数值
//
//	if(controller_signal[JAW])     {__HAL_TIM_SET_COMPARE(&htim12, TIM_CHANNEL_1,500);}
//	else                           {__HAL_TIM_SET_COMPARE(&htim12, TIM_CHANNEL_1,500);}//未测试具体数值

	if(controller_signal[JAW])     {__HAL_TIM_SET_COMPARE(&htim12, TIM_CHANNEL_2,2500);}
	else                           {__HAL_TIM_SET_COMPARE(&htim12, TIM_CHANNEL_2,900);}//未测试具体数值

//	if(controller_signal[LIFT])    {__HAL_TIM_SET_COMPARE(&htim9, TIM_CHANNEL_2,2500);}
//	else                           {__HAL_TIM_SET_COMPARE(&htim9, TIM_CHANNEL_2, 500);}//未测试具体数值

	}
	if(htim == (&htim7)){

		OLED_refresh_gram();
		OLED_operate_gram(PEN_CLEAR);
		i++;

	}
}

//-----------------------------------------------------------------------------------------------------------------
//-----------------------------------------------------------------------------------------------------------------
void PWM_output(int *pwm ){

	if(pwm[L_F]>0){
		HAL_GPIO_WritePin(L_F_POS_GPIO_Port,L_F_POS_Pin,GPIO_PIN_RESET);
		HAL_GPIO_WritePin(L_F_NEG_GPIO_Port,L_F_NEG_Pin,GPIO_PIN_SET);
	}
	else{
		HAL_GPIO_WritePin(L_F_POS_GPIO_Port,L_F_POS_Pin,GPIO_PIN_SET);
		HAL_GPIO_WritePin(L_F_NEG_GPIO_Port,L_F_NEG_Pin,GPIO_PIN_RESET);
	}
	if(pwm[L_B]>0){
		HAL_GPIO_WritePin(L_B_POS_GPIO_Port,L_B_POS_Pin,GPIO_PIN_RESET);
		HAL_GPIO_WritePin(L_B_NEG_GPIO_Port,L_B_NEG_Pin,GPIO_PIN_SET);
	}
	else{
		HAL_GPIO_WritePin(L_B_POS_GPIO_Port,L_B_POS_Pin,GPIO_PIN_SET);
		HAL_GPIO_WritePin(L_B_NEG_GPIO_Port,L_B_NEG_Pin,GPIO_PIN_RESET);
	}

	if(pwm[R_F]>0){
		HAL_GPIO_WritePin(R_F_POS_GPIO_Port,R_F_POS_Pin,GPIO_PIN_SET);
		HAL_GPIO_WritePin(R_F_NEG_GPIO_Port,R_F_NEG_Pin,GPIO_PIN_RESET);
	}
	else{
		HAL_GPIO_WritePin(R_F_POS_GPIO_Port,R_F_POS_Pin,GPIO_PIN_RESET);
		HAL_GPIO_WritePin(R_F_NEG_GPIO_Port,R_F_NEG_Pin,GPIO_PIN_SET);
	}
	if(pwm[R_B]>0){
		HAL_GPIO_WritePin(R_B_POS_GPIO_Port,R_B_POS_Pin,GPIO_PIN_SET);
		HAL_GPIO_WritePin(R_B_NEG_GPIO_Port,R_B_NEG_Pin,GPIO_PIN_RESET);
	}
	else{
		HAL_GPIO_WritePin(R_B_POS_GPIO_Port,R_B_POS_Pin,GPIO_PIN_RESET);
		HAL_GPIO_WritePin(R_B_NEG_GPIO_Port,R_B_NEG_Pin,GPIO_PIN_SET);
	}

	__HAL_TIM_SET_COMPARE(&htim1, TIM_CHANNEL_1,(uint16_t)(ABS(pwm[L_F])));
	__HAL_TIM_SET_COMPARE(&htim1, TIM_CHANNEL_2,(uint16_t)(ABS(pwm[R_F])));
	__HAL_TIM_SET_COMPARE(&htim1, TIM_CHANNEL_3,(uint16_t)(ABS(pwm[L_B])));
	__HAL_TIM_SET_COMPARE(&htim1, TIM_CHANNEL_4,(uint16_t)(ABS(pwm[R_B])));

}
int pwm_limit(int pwm){//pwm限制

	if(pwm>999)return 999;
	else if(pwm<-999)return -999;
	else return pwm;
}
void get_speed(short *rotate_speed){

	rotate_speed[L_F]= (short)(__HAL_TIM_GET_COUNTER(&htim5)*speed_param);
	__HAL_TIM_SET_COUNTER(&htim5,0);

	rotate_speed[L_B]= (short)(__HAL_TIM_GET_COUNTER(&htim8)*speed_param);
	__HAL_TIM_SET_COUNTER(&htim8,0);

	rotate_speed[R_F]= (short)(__HAL_TIM_GET_COUNTER(&htim2)*speed_param);
	__HAL_TIM_SET_COUNTER(&htim2,0);

	rotate_speed[R_B]= (short)(__HAL_TIM_GET_COUNTER(&htim4)*speed_param);
	__HAL_TIM_SET_COUNTER(&htim4,0);

}

void input_pidv(PID_variables *hpidv,int Target,int Data_now){//pid变量输入

	if(Target>motor_rotate_speed){
		hpidv->target=motor_rotate_speed;

	}
	else if(Target<-motor_rotate_speed){
		hpidv->target=-motor_rotate_speed;
	}
	else {hpidv->target=Target;}
	hpidv->data_now=Data_now;
	hpidv->integral+=(Target-Data_now);
	if(Target<20&&Target>-20){hpidv->target=0;}
	if(hpidv->integral > 1000|| hpidv->integral <-1000||(hpidv->target<50&&hpidv->target>-50)){
		hpidv->integral=0;}

}

int pid_cal(PID_parameter *hpidp,PID_variables *hpidv){//--------------------------------pid_calculate
	int error,differential,pwm_control;
	error=hpidv->target - hpidv->data_now;
	differential = hpidv->data_now - hpidv->data_before;
	pwm_control = hpidp->kp*error- hpidp->kd*differential+ hpidp->ki*hpidv->integral;
	return pwm_control;
    }

void mani_cul(double x,double y,double sita){//运动学解算部分

    mani_status[mani_m1]=-(l2*l2-l1*l1-x*x-y*y)/(2*l1*sqrt(x*x+y*y));
    if(mani_status[mani_m1]>1||mani_status[mani_m1]<-1){
        error_m1;
		if(if_x_plus)      {error_x_plus;}
		else if(if_x_minus){error_x_minus;}
		if(if_y_plus)      {error_y_plus;}
		else if(if_y_minus){error_y_minus;}//返回错误信号和错误的状态和原因
    }
    else{
		if(y==0){mani_status[mani_v]=1.570796;}
		else{mani_status[mani_v]=atan(x/y);}
        mani_status[mani_sita1]=3.1415926-asin(mani_status[mani_m1])-mani_status[mani_v];
        if(mani_status[mani_sita1]<=0&&mani_status[mani_sita1]!=-3.1415926){
            mani_status[mani_sita1]+=3.1415926;
                }
        if(mani_status[mani_sita1]==-3.1415926){
            mani_status[mani_sita1]=-mani_status[mani_sita1];
        }

        mani_status[mani_m2]=(l1*sin(mani_status[mani_sita1])-y)/l2;
        if       (mani_status[mani_m2]<1.0001&&mani_status[mani_m2]>=1)       {mani_status[mani_m2]=1;}
        else if(mani_status[mani_m2]>-1.0001&&mani_status[mani_m2]<=-1)       {mani_status[mani_m2]=-1;}
        if(mani_status[mani_m2]>1||mani_status[mani_m2]<-1){
			error_m2;
			if(if_x_plus)      {error_x_plus;}
			else if(if_x_minus){error_x_minus;}//同
			if(if_y_plus)      {error_y_plus;}
			else if(if_y_minus){error_y_minus;}
        }
        else{
                if(mani_status[mani_m2]==0){
                    if(l1*cos(mani_status[mani_sita1])-y>0){
                        mani_status[mani_n]=0;
                    }
                    else{
                        mani_status[mani_n]=3.141593;
                    }
                }

                else{
                    mani_status[mani_n]=asin(mani_status[mani_m2]);
                }

            // printf("%lf\n",k2);
            mani_status[mani_sita2]=3.141593-mani_status[mani_n]-mani_status[mani_sita1];
            // if(sita2<=0&&sita2!=-3.141593){
            //     sita2+=3.141593;
            // }
            // if(sita2==-3.141593){
            //     sita2=-sita2;
            // }

            mani_status[mani_sita3]=3*3.141593/2+sita*3.141593/180-mani_status[mani_sita1]-mani_status[mani_sita2];
			if(mani_status[mani_sita3]<0){
				error_a_minus;
				mani_status[mani_sita3]=mani_status[mani_L_sita3];
				}
			else if(mani_status[mani_sita3]>3.141593){
				error_a_plus;
				mani_status[mani_sita3]=mani_status[mani_L_sita3];
			}
            // printf("%lf\n",asin(-0.6));
            no_fault_happended

            }
    }

	//------------------------------------------------------------------

}

void set_pidp(PID_parameter *hpidp,int KP, int KI ,int KD){
    hpidp->kp=KP;
    hpidp->ki=KI;
    hpidp->kd=KD;
		  }

void pid_autoset(PID_parameter *hpidp,PID_variables *hpidv){
//	hpidp->kp=20;hpidp->ki=0;hpidp->kd=4;
	if(ABS(hpidv->target)>450)                                  {hpidp->kp=20;hpidp->ki=0.01  ;hpidp->kd=5  ;}
	if(ABS(hpidv->target)>350&&ABS(hpidv->target)<=450)         {hpidp->kp=17;hpidp->ki=0.008 ;hpidp->kd=4  ;}
	if(ABS(hpidv->target)>250&&ABS(hpidv->target)<=350)         {hpidp->kp=14;hpidp->ki=0.004 ;hpidp->kd=3  ;}
	if(ABS(hpidv->target)>150&&ABS(hpidv->target)<=250)         {hpidp->kp=11;hpidp->ki=0.002 ;hpidp->kd=2  ;}
	if(ABS(hpidv->target)>80&&ABS(hpidv->target)<=150)          {hpidp->kp=8 ;hpidp->ki=0.001 ;hpidp->kd=1  ;}
	if(ABS(hpidv->target)>40&&ABS(hpidv->target)<=80)           {hpidp->kp=8 ;hpidp-> ki=0.0005;hpidp->kd=0.5;}
	if(hpidv->target<=40&&hpidv->target>=-40)                   {hpidp->kp=8 ;hpidp-> ki=0.0001;hpidp->kd=0.2;}

}
int ABS(int a){//绝对值

	if(a>0){return a;}
	else{return -a;}

}

int nominus(int a){//非负，应该已经用不上了

	if(a>0){return a;}
	else {return 0;}

}
void delay_us(uint32_t nus)//毫秒延迟
{
  uint32_t temp;
  SysTick->LOAD = HAL_RCC_GetHCLKFreq()/1000000/8*nus;
  SysTick->VAL=0X00;//清空计数器
  SysTick->CTRL=0X01;//使能，减到零是无动作，采用外部时钟源
  do
  {
    temp=SysTick->CTRL;//读取当前倒计数值
  }while((temp&0x01)&&(!(temp&(1<<16))));//等待时间到达
  SysTick->CTRL=0x00; //关闭计数器
  SysTick->VAL =0X00; //清空计数器
}

//-------------------------------------------------------------------------------------------------------------------------------------
//---------------------------------------------------USER-----CODE--------END---------------------------------------
//--------------------------------------------------------------------------------------------------------------------------

/* USER CODE END 4 */

void Error_Handler(void)
{
  __disable_irq();
  while (1)
  {
  }
}
